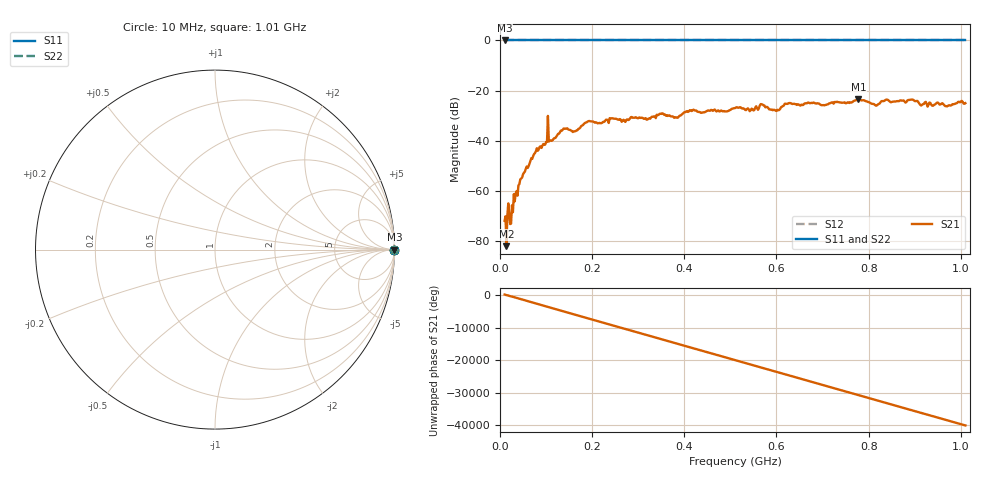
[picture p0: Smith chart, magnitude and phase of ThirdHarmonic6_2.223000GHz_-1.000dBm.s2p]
! 8/17/2025 2:28:31 AM
! C:\ANRITSUVNA\TEMP\TEMP.S2P
! CHANNEL.1
! TR.MEASUREMENT
! RAW.DATA
! RF.CORRECTION.OFF
! AVERAGING.OFF
! IF.BANDWIDTH: 5KHZ
! SWEEPTYPE:  FREQ.SWEEP(Linear)
! Reference Plane Port Info
! PORT:  PORT1  PORT2
! DISTANCE:  0  m  0  m
! TIME:  0  s  0  s
! PHASE.OFFSET:  0  deg.  0  deg.
! LOSS:  0  dB  0  dB
! REF.LOSS:  0  dB  0  dB
! REF.FREQ:  0  Hz  0  Hz
! Power Info
! POWER:  -20  dBm  -20  dBm
! EFF.POWER:  -20  dBm  -20  dBm
! SOURCE.ATTEN:  0  dB  0  dB
! TEST.ATTEN:  0  dB  0  dB
# GHZ S RI R 50.0
! FREQ.GHZ  S11RE  S11IM  S21RE  S21IM  S12RE  S12IM  S22RE  S22IM
!; PortSelection: Port_12
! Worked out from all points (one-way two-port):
!   501 points, 10 MHz to 1.01 GHz, reference 50 ohm
!   highest |S21| = -23.47 dB at 778 MHz (marker M1); lowest = -82.1 dB at 14 MHz (marker M2)
!   lowest |S11| = 0.0 dB at 10 MHz (marker M3)
!   |S11| at or under -10 dB: nowhere
!   |S22| runs from 0.0 to 0.0 dB; largest |S21 - S12| = 1.1
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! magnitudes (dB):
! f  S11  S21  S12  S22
! 10 MHz  0.0  -72.0  0.0  0.0
! 14 MHz  0.0  -82.1  0.0  0.0
! 24 MHz  0.0  -73.1  0.0  0.0
! 34 MHz  0.0  -61.1  0.0  0.0
! 54 MHz  0.0  -52.3  0.0  0.0
! 100 MHz  0.0  -40.5  0.0  0.0
! 108 MHz  0.0  -39.9  0.0  0.0
! 110 MHz  0.0  -39.9  0.0  0.0
! 136 MHz  0.0  -35.7  0.0  0.0
! 178 MHz  0.0  -34.0  0.0  0.0
! 344 MHz  0.0  -29.7  0.0  0.0
! 382 MHz  0.0  -30.6  0.0  0.0
! 416 MHz  0.0  -28.2  0.0  0.0
! 510 MHz  0.0  -27.0  0.0  0.0
! 570 MHz  0.0  -25.6  0.0  0.0
! 602 MHz  0.0  -27.7  0.0  0.0
! 622 MHz  0.0  -25.3  0.0  0.0
! 678 MHz  0.0  -25.0  0.0  0.0
! 778 MHz  0.0  -23.5  0.0  0.0
! 816 MHz  0.0  -26.0  0.0  0.0
! 844 MHz  0.0  -24.0  0.0  0.0
! 1.01 GHz  0.0  -25.0  0.0  0.0
